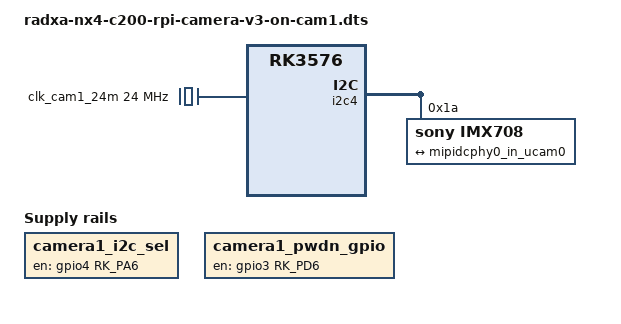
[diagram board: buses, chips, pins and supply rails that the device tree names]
/dts-v1/;
/plugin/;

#include <dt-bindings/gpio/gpio.h>
#include <dt-bindings/pinctrl/rockchip.h>
#include "rk3576-csi2_dcphy0.dtsi"

/ {
	metadata {
		title ="Enable Raspberry Pi Camera v3 on CAM1";
		compatible = "radxa,nx4-c200";
		category = "camera";
		exclusive = "GPIO3_D6", "GPIO4_A6", "csi2_dcphy0", "i2c4@1a";
		description = "Enable Raspberry Pi Camera v3 on CAM1.";
	};
};

&{/} {
	camera1_i2c_sel: camera1-i2c-sel {
		compatible = "regulator-fixed";
		regulator-name = "camera1_i2c_sel";
		regulator-always-on;
		regulator-boot-on;
		enable-active-high;
		gpio = <&gpio4 RK_PA6 GPIO_ACTIVE_HIGH>;
		pinctrl-names = "default";
		pinctrl-0 = <&cam1_i2c_sel_gpio>;
	};

	camera1_pwdn_gpio: camera1-pwdn-gpio {
		compatible = "regulator-fixed";
		regulator-name = "camera1_pwdn_gpio";
		regulator-always-on;
		regulator-boot-on;
		enable-active-high;
		gpio = <&gpio3 RK_PD6 GPIO_ACTIVE_HIGH>;
		pinctrl-names = "default";
		pinctrl-0 = <&cam1_pwdn_gpio>;
	};

	clk_cam1_24m: external-camera1-clock-24m {
		compatible = "fixed-clock";
		clock-frequency = <24000000>;
		clock-output-names = "clk_cam1_24m";
		#clock-cells = <0>;
	};
};

&i2c4 {
	status = "okay";
	pinctrl-0 = <&i2c4m2_xfer>;
	#address-cells = <1>;
	#size-cells = <0>;

	imx708: imx708@1a {
		status = "okay";
		compatible = "sony,imx708";
		reg = <0x1a>;
		clocks = <&clk_cam1_24m>;
		clock-names = "inclk";
		rockchip,camera-module-index = <0>;
		rockchip,camera-module-facing = "back";
		rockchip,camera-module-name = "rpi-camera-v3";
		rockchip,camera-module-lens-name = "default";

		port {
			mipidcphy0_out0: endpoint {
				remote-endpoint = <&mipidcphy0_in_ucam0>;
				data-lanes = <1 2>;
				link-frequencies = /bits/ 64 <450000000>;
			};
		};
	};
};

&pinctrl {
	camera {
		cam1_pwdn_gpio: cam1-pwdn-gpio {
			rockchip,pins = <3 RK_PD6 RK_FUNC_GPIO &pcfg_pull_up>;
		};

		cam1_i2c_sel_gpio: cam1-i2c-sel-gpio {
			rockchip,pins = <4 RK_PA6 RK_FUNC_GPIO &pcfg_pull_up>;
		};
	};
};
